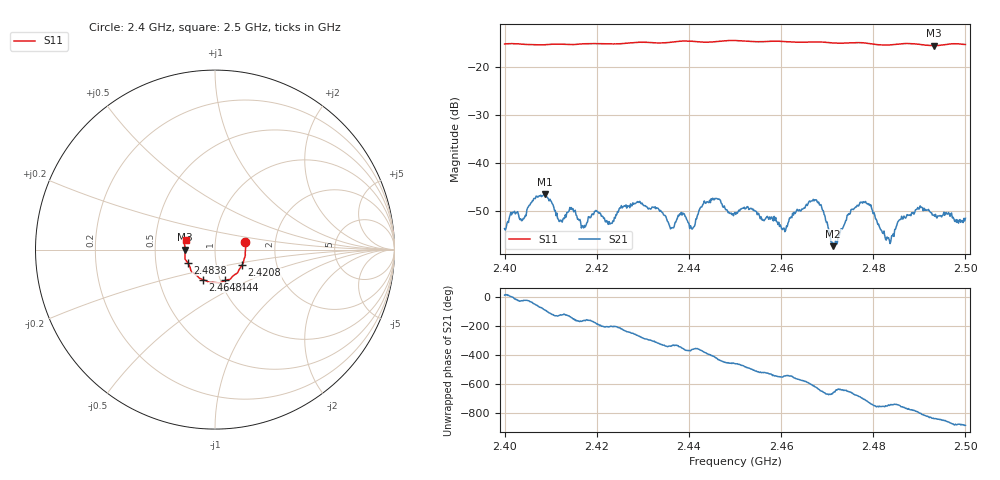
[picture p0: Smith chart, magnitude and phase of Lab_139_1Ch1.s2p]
# Hz S RI R 50
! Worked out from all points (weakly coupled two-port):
!   601 points, 2.4 GHz to 2.5 GHz, reference 50 ohm
!   highest |S21| = -46.53 dB at 2.4088 GHz (marker M1); lowest = -57.4 dB at 2.4713 GHz (marker M2)
!   lowest |S11| = -15.6 dB at 2.4932 GHz (marker M3), VSWR 1.40, Z = 35.8 - j0.0797 ohm
!   |S11| at or under -10 dB: start of sweep to end of sweep
!   S12 and S22 are empty: the file has one direction only
!   S11 on the Smith chart (normalised r, x): 2.4 GHz: 1.40, +0.12; 2.4208 GHz: 1.33, -0.24; 2.444 GHz: 1.06, -0.37; 2.4648 GHz: 0.83, -0.29; 2.4838 GHz: 0.73, -0.11; 2.5 GHz: 0.72, +0.08
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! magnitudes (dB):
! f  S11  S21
! 2.4 GHz  -15.3  -53.7
! 2.4088 GHz  -15.4  -46.5
! 2.412 GHz  -15.3  -52.2
! 2.4147 GHz  -15.4  -49.7
! 2.4167 GHz  -15.3  -53.6
! 2.4208 GHz  -15.2  -50.6
! 2.4333 GHz  -15.0  -49.5
! 2.4362 GHz  -14.9  -53.6
! 2.4407 GHz  -14.7  -53.8
! 2.444 GHz  -14.9  -48.1
! 2.45 GHz  -14.5  -50.3
! 2.4605 GHz  -14.7  -53.6
! 2.4648 GHz  -14.9  -49.5
! 2.4667 GHz  -14.8  -47.9
! 2.4687 GHz  -14.8  -48.7
! 2.4713 GHz  -15.0  -57.4
! 2.4778 GHz  -15.0  -48.1
! 2.4833 GHz  -15.5  -55.6
! 2.4838 GHz  -15.4  -56.2
! 2.4897 GHz  -15.3  -49.3
! 2.4932 GHz  -15.6  -50.9
! 2.5 GHz  -15.4  -51.5
